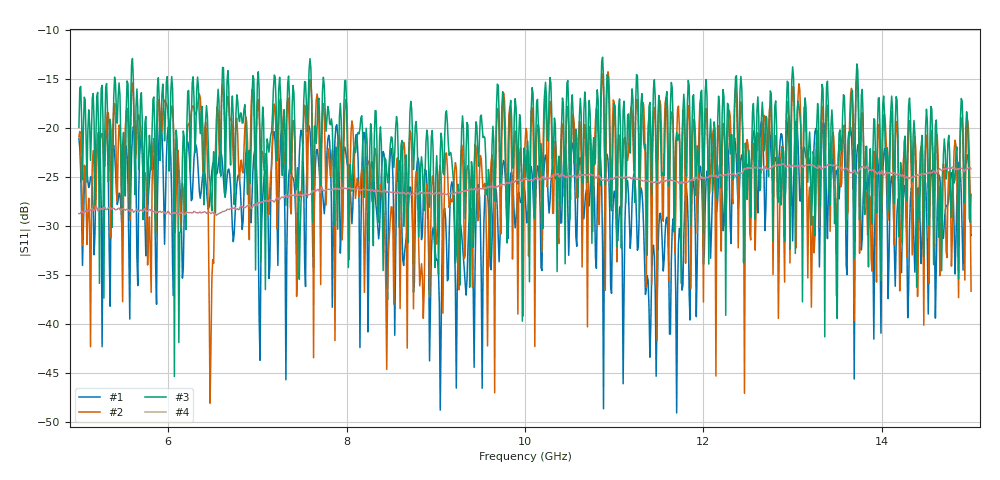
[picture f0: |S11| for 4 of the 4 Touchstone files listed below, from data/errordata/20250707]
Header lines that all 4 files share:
!  1-Port S-parameters saved by WinCal
! VAR NAME=2-Port SOLT labuser 7
# Hz S RI R 50
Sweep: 5 GHz to 15 GHz
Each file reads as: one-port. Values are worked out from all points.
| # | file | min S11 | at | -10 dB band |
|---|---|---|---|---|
| 1 | ErrorTerm_11_EDir.s1p | -49.1 dB | 11.7 GHz | over 10 GHz wide |
| 2 | ErrorTerm_11_ESrm.s1p | -48.1 dB | 6.47 GHz | over 10 GHz wide |
| 3 | ErrorTerm_12_ELdm.s1p | -45.4 dB | 6.07 GHz | over 10 GHz wide |
| 4 | ErrorTerm_21_ETrt.s1p | -28.9 dB | 6.54 GHz | over 10 GHz wide |
